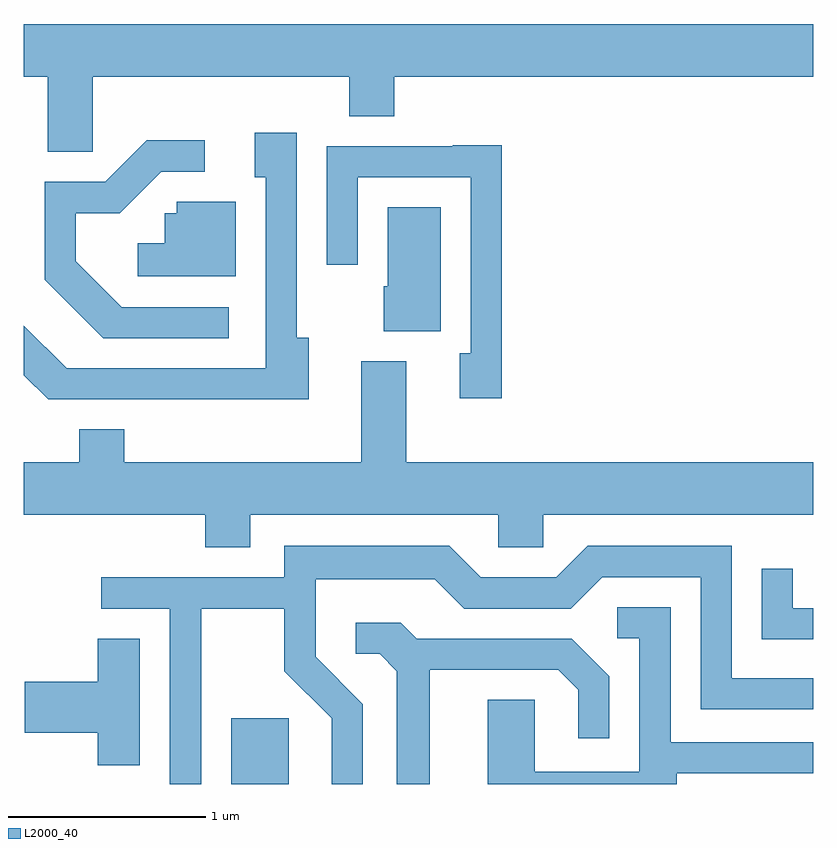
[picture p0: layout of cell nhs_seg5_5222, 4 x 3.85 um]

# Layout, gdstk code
import gdstk
lib = gdstk.Library(unit=1e-6, precision=1e-09)
def R(c, l, rs):  # rectangles x0, y0, x1, y1
    for r in rs: c.add(gdstk.rectangle(r[:2], r[2:], *l))
def P(c, l, *ps):  # polygons
    for p in ps: c.add(gdstk.Polygon(p, *l))
L2000_40 = (2000, 40)

nhs_seg5_5222 = lib.new_cell('nhs_seg5_5222')
R(nhs_seg5_5222, L2000_40, [(340.661,1482.072,340.954,1482.404)])
P(nhs_seg5_5222, L2000_40, [(339.959,1485.656),(341.261,1485.656),(341.261,1485.456),(341.489,1485.456),(341.489,1485.656),(343.611,1485.656),(343.611,1485.924),(339.611,1485.924),(339.611,1485.656),(339.731,1485.656),(339.731,1485.276),(339.959,1485.276)],
  [(341.054,1484.334),(340.994,1484.334),(340.994,1485.374),(340.781,1485.374),(340.781,1485.146),(340.836,1485.146),(340.836,1484.179),(339.827,1484.179),(339.611,1484.395),(339.611,1484.144),(339.734,1484.021),(341.054,1484.021)],
  [(340.648,1484.489),(340.107,1484.489),(339.874,1484.722),(339.874,1484.966),(340.097,1484.966),(340.307,1485.176),(340.528,1485.176),(340.528,1485.334),(340.234,1485.334),(340.024,1485.124),(339.716,1485.124),(339.716,1484.629),(340.014,1484.331),(340.648,1484.331)],
  [(342.034,1485.309),(341.785,1485.309),(341.785,1485.304),(341.146,1485.304),(341.146,1484.703),(341.304,1484.703),(341.304,1485.146),(341.876,1485.146),(341.876,1484.254),(341.821,1484.254),(341.821,1484.026),(342.034,1484.026)],
  [(340.684,1485.024),(340.386,1485.024),(340.386,1484.964),(340.326,1484.964),(340.326,1484.814),(340.188,1484.814),(340.188,1484.646),(340.684,1484.646)],
  [(341.724,1484.994),(341.456,1484.994),(341.456,1484.594),(341.436,1484.594),(341.436,1484.366),(341.724,1484.366)],
  [(340.759,1483.436),(342.016,1483.436),(342.016,1483.271),(342.244,1483.271),(342.244,1483.436),(343.611,1483.436),(343.611,1483.704),(341.549,1483.704),(341.549,1484.214),(341.321,1484.214),(341.321,1483.704),(340.119,1483.704),(340.119,1483.869),(339.891,1483.869),(339.891,1483.704),(339.611,1483.704),(339.611,1483.436),(340.531,1483.436),(340.531,1483.271),(340.759,1483.271)],
  [(340.509,1482.961),(340.931,1482.961),(340.931,1482.644),(341.171,1482.404),(341.171,1482.072),(341.329,1482.072),(341.329,1482.477),(341.089,1482.717),(341.089,1483.111),(341.694,1483.111),(341.844,1482.961),(342.382,1482.961),(342.542,1483.121),(343.041,1483.121),(343.041,1482.451),(343.611,1482.451),(343.611,1482.609),(343.199,1482.609),(343.199,1483.279),(342.469,1483.279),(342.309,1483.119),(341.927,1483.119),(341.767,1483.279),(340.931,1483.279),(340.931,1483.119),(340.003,1483.119),(340.003,1482.961),(340.351,1482.961),(340.351,1482.072),(340.509,1482.072)],
  [(343.611,1482.964),(343.509,1482.964),(343.509,1483.163),(343.351,1483.163),(343.351,1482.806),(343.611,1482.806)],
  [(342.919,1482.126),(343.611,1482.126),(343.611,1482.284),(342.889,1482.284),(342.889,1482.969),(342.618,1482.969),(342.618,1482.811),(342.731,1482.811),(342.731,1482.134),(342.199,1482.134),(342.199,1482.499),(341.961,1482.499),(341.961,1482.072),(342.919,1482.072)],
  [(341.669,1482.651),(342.319,1482.651),(342.421,1482.549),(342.421,1482.303),(342.579,1482.303),(342.579,1482.617),(342.387,1482.809),(341.602,1482.809),(341.522,1482.889),(341.293,1482.889),(341.293,1482.731),(341.414,1482.731),(341.501,1482.644),(341.501,1482.072),(341.669,1482.072)],
  [(340.199,1482.809),(339.986,1482.809),(339.986,1482.589),(339.616,1482.589),(339.616,1482.331),(339.986,1482.331),(339.986,1482.166),(340.199,1482.166)])

lib.write_gds('nhs_seg5_5222.gds')
